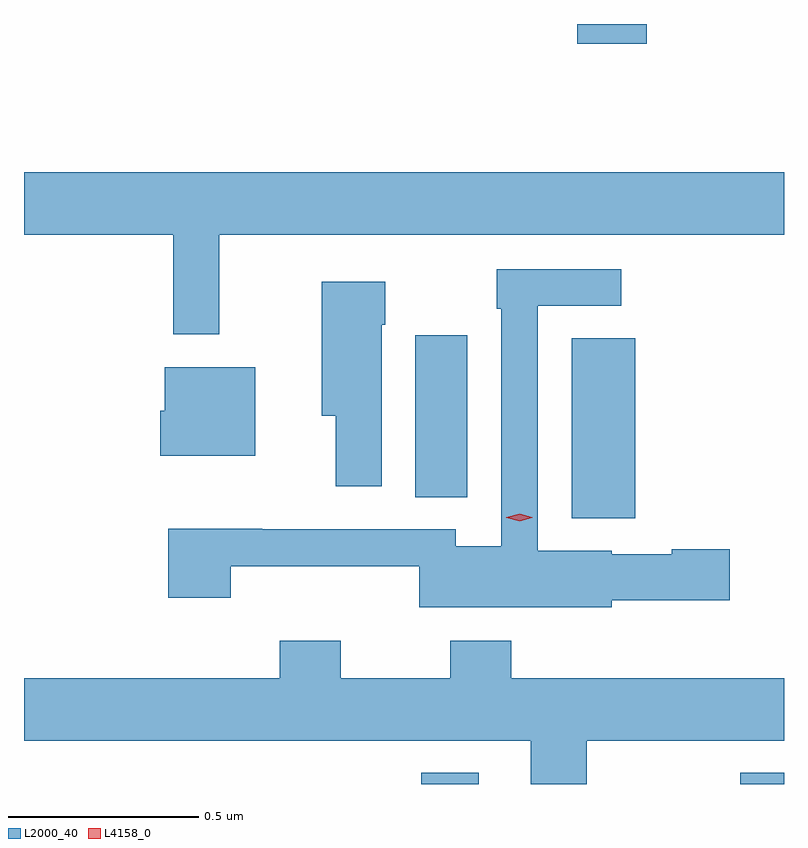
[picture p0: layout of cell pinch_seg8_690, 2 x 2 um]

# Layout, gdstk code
import gdstk
lib = gdstk.Library(unit=1e-6, precision=1e-09)
def R(c, l, rs):  # rectangles x0, y0, x1, y1
    for r in rs: c.add(gdstk.rectangle(r[:2], r[2:], *l))
def P(c, l, *ps):  # polygons
    for p in ps: c.add(gdstk.Polygon(p, *l))
L2000_40 = (2000, 40)
L4158_0 = (4158, 0)

pinch_seg8_690 = lib.new_cell('pinch_seg8_690')
R(pinch_seg8_690, L2000_40, [(265.043,1112.39,265.195,1112.419), (265.883,1112.39,265.998,1112.419), (265.439,1113.089,265.606,1113.563), (265.028,1113.145,265.165,1113.571), (265.454,1114.338,265.637,1114.39)])
P(pinch_seg8_690, L2000_40, [(264.512,1113.836),(265.998,1113.836),(265.998,1114),(263.998,1114),(263.998,1113.836),(264.391,1113.836),(264.391,1113.573),(264.512,1113.573)],
  [(265.545,1112.873),(265.855,1112.873),(265.855,1113.008),(265.702,1113.008),(265.702,1112.995),(265.545,1112.995),(265.545,1113.004),(265.35,1113.004),(265.35,1113.648),(265.57,1113.648),(265.57,1113.744),(265.242,1113.744),(265.242,1113.641),(265.254,1113.641),(265.254,1113.016),(265.134,1113.016),(265.134,1113.06),(264.625,1113.06),(264.625,1113.062),(264.377,1113.062),(264.377,1112.88),(264.542,1112.88),(264.542,1112.963),(265.038,1112.963),(265.038,1112.855),(265.545,1112.855)],
  [(264.94,1113.599),(264.948,1113.599),(264.948,1113.712),(264.782,1113.712),(264.782,1113.359),(264.818,1113.359),(264.818,1113.174),(264.94,1113.174)],
  [(264.607,1113.487),(264.368,1113.487),(264.368,1113.372),(264.356,1113.372),(264.356,1113.254),(264.607,1113.254)],
  [(265.479,1112.504),(265.998,1112.504),(265.998,1112.668),(265.28,1112.668),(265.28,1112.767),(265.12,1112.767),(265.12,1112.668),(264.831,1112.668),(264.831,1112.767),(264.671,1112.767),(264.671,1112.668),(263.998,1112.668),(263.998,1112.504),(265.331,1112.504),(265.331,1112.39),(265.479,1112.39)])
P(pinch_seg8_690, L4158_0, [(265.302,1113.081),(265.267,1113.091),(265.267,1113.091),(265.267,1113.092),(265.302,1113.101),(265.336,1113.092),(265.336,1113.091),(265.336,1113.091)])

lib.write_gds('pinch_seg8_690.gds')
